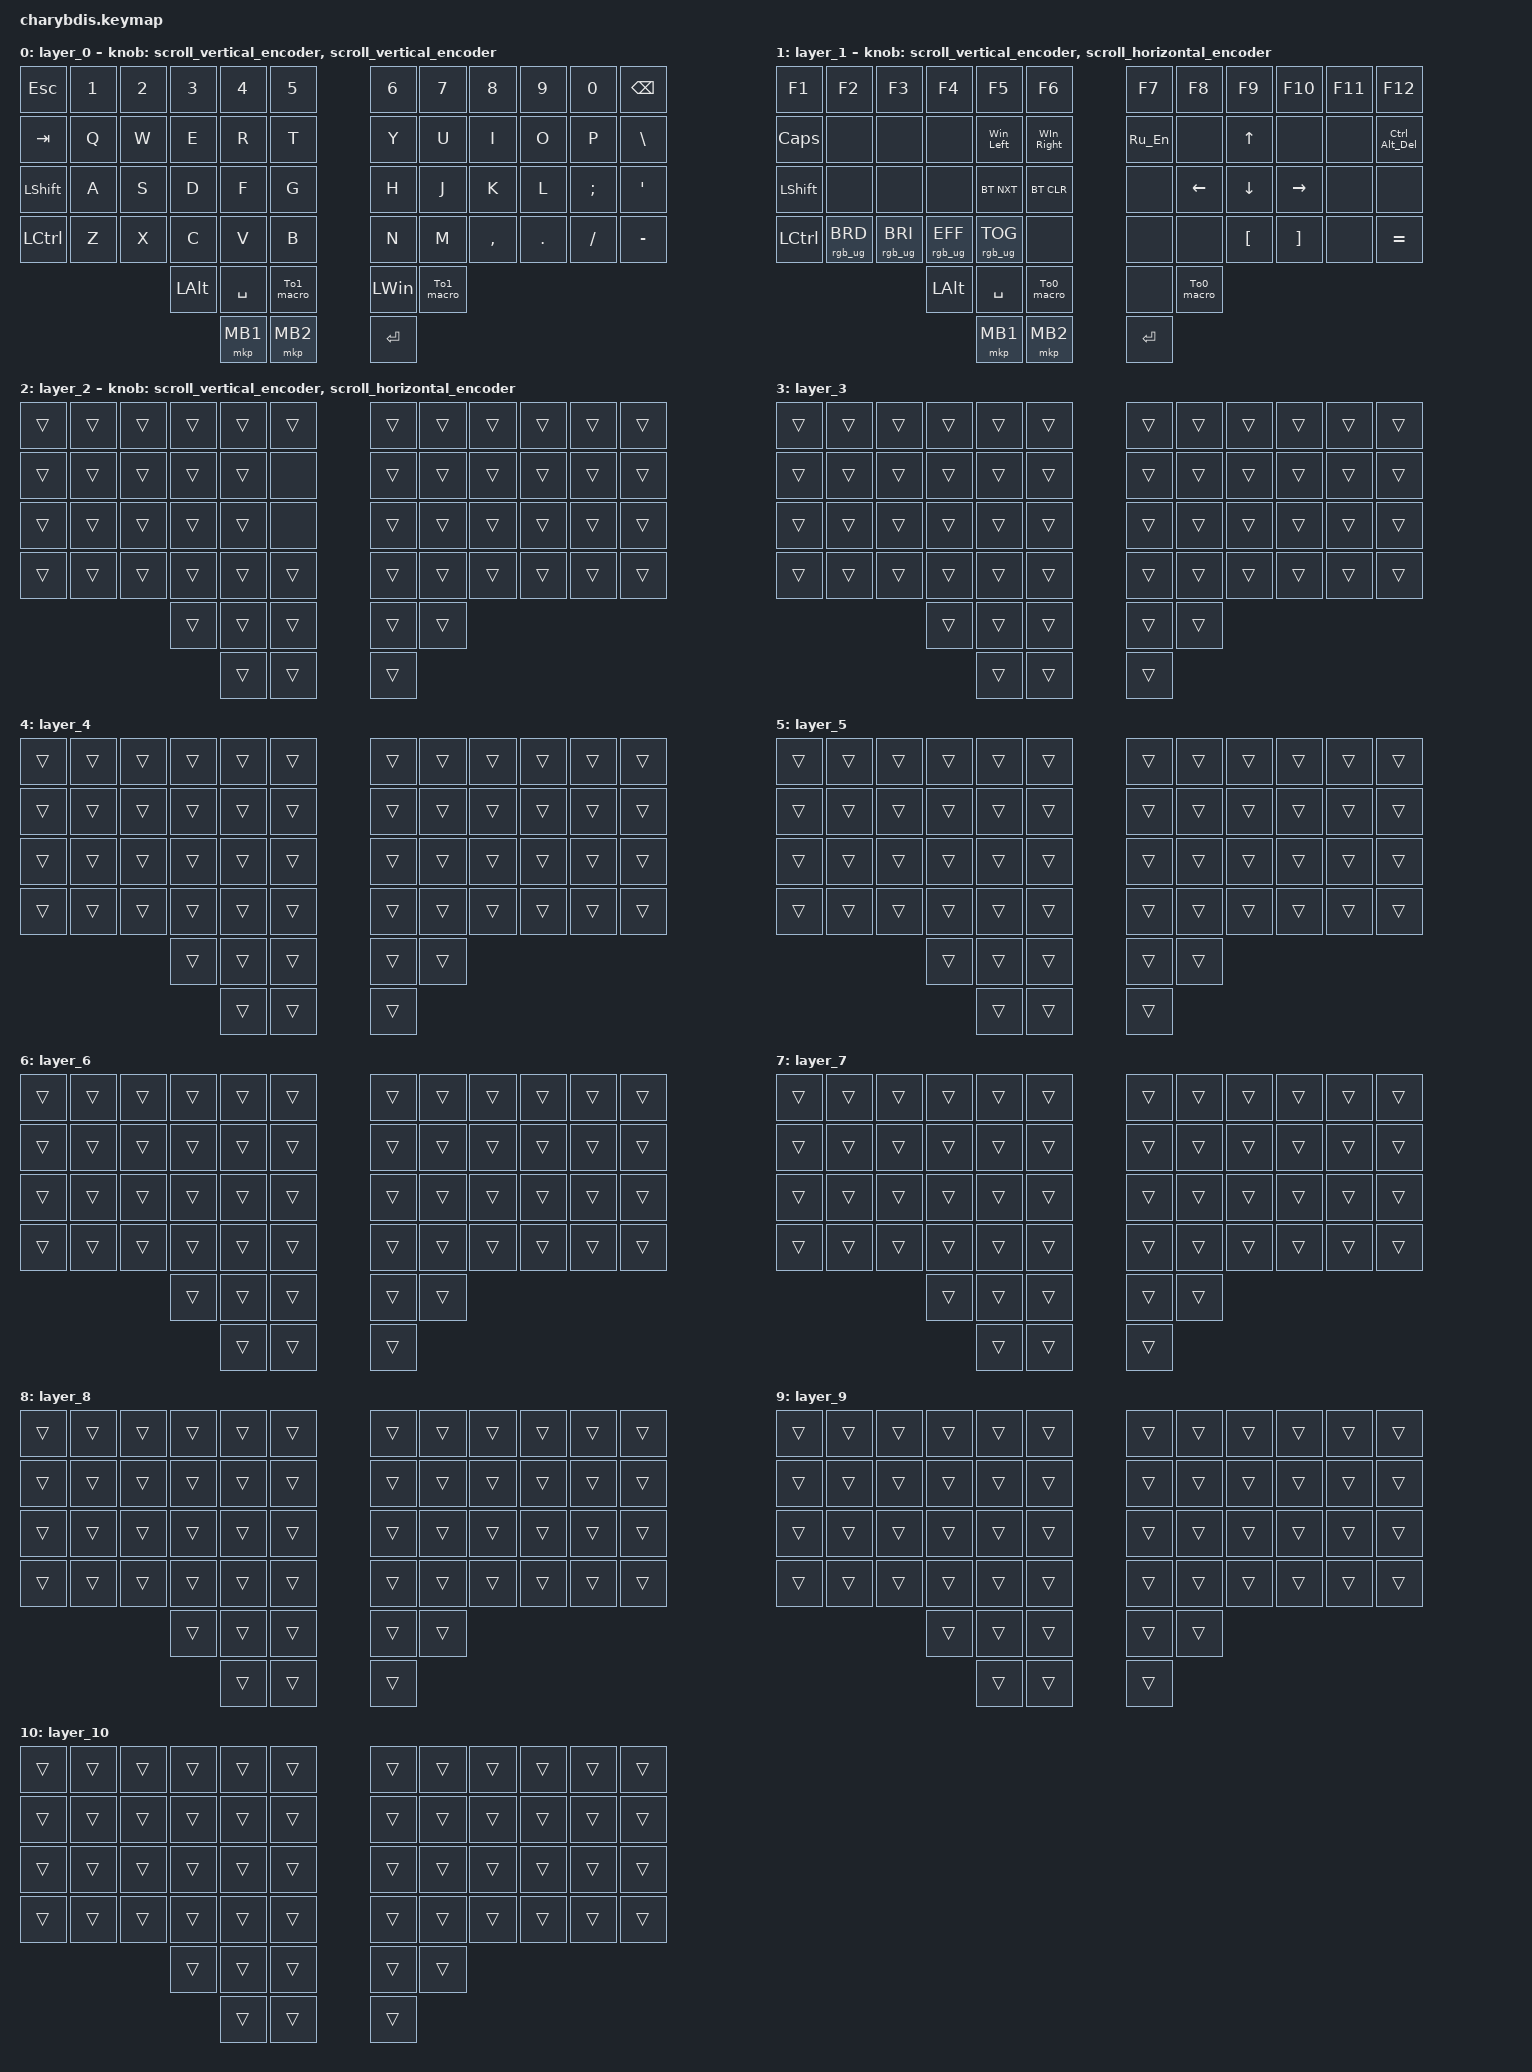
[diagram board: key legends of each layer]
#define ZMK_POINTING_DEFAULT_SCRL_VAL 25

#include <dt-bindings/zmk/mouse.h>
#include <input/processors.dtsi>
#include <zephyr/dt-bindings/input/input-event-codes.h>
#include <behaviors.dtsi>
#include <dt-bindings/zmk/bt.h>
#include <dt-bindings/zmk/keys.h>
#include <dt-bindings/zmk/pointing.h>
#include <dt-bindings/zmk/rgb.h>

&lt {
    tapping-term-ms = <200>;
    flavor = "balanced";
    quick-tap-ms = <150>;
};

&msc {
    acceleration-exponent = <0>;      // 0
    time-to-max-speed-ms = <30>;       // 300
    delay-ms = <0>;                   // 0
};

/ {
    // 上下滚动编码器行为

    scroll_vertical_encoder: scroll_vertical_encoder {
        compatible = "zmk,behavior-sensor-rotate";
        #sensor-binding-cells = <0>;
        bindings = <&msc SCRL_DOWN>, <&msc SCRL_UP>;

        tap-ms = <64>;
    };

    // 左右滚动编码器行为

    scroll_horizontal_encoder: scroll_horizontal_encoder {
        compatible = "zmk,behavior-sensor-rotate";
        #sensor-binding-cells = <0>;
        bindings = <&msc SCRL_LEFT>, <&msc SCRL_RIGHT>;

        tap-ms = <64>;
    };

    behaviors {
    };

    macros {
        To1_macro: To1_macro {
            compatible = "zmk,behavior-macro";
            label = "To1_macro";
            #binding-cells = <0>;
            bindings = <&rgb_ug RGB_EFF &rgb_ug RGB_COLOR_HSB(128,100,50) &to 1>;
        };

        To1_macro_A: To1_macro_A {
            compatible = "zmk,behavior-macro";
            label = "To1_macro_A";
            #binding-cells = <0>;
            bindings = <&rgb_ug RGB_COLOR_HSB(128,100,50) &to 1>;
        };

        To0_macro: To0_macro {
            compatible = "zmk,behavior-macro";
            label = "To0_macro";
            #binding-cells = <0>;
            bindings = <&rgb_ug RGB_EFR &to 0>;
        };

        To2_macro_A: To2_macro_A {
            compatible = "zmk,behavior-macro";
            label = "To2_macro_A";
            #binding-cells = <0>;
            bindings = <&rgb_ug RGB_COLOR_HSB(250,100,50) &to 2>;
        };

        To2_macro: To2_macro {
            compatible = "zmk,behavior-macro";
            label = "To2_macro";
            #binding-cells = <0>;
            bindings = <&rgb_ug RGB_EFF &rgb_ug RGB_COLOR_HSB(250,100,50) &to 2>;
        };

        Win_Left: Win_Left {
            compatible = "zmk,behavior-macro";
            #binding-cells = <0>;
            bindings = <&kp LG(LEFT)>;
            label = "WIN_LEFT";
        };

        WIn_Right: WIn_Right {
            compatible = "zmk,behavior-macro";
            #binding-cells = <0>;
            bindings = <&kp LG(RIGHT_ARROW)>;
            label = "WIN_RIGHT";
        };

        Ru_En: Ru_En {
            compatible = "zmk,behavior-macro";
            #binding-cells = <0>;
            bindings = <&kp LA(LEFT_SHIFT)>;
            label = "RU_EN";
        };

        Ctrl_Alt_Del: Ctrl_Alt_Del {
            compatible = "zmk,behavior-macro";
            #binding-cells = <0>;
            bindings = <&kp LA(LC(DEL))>;
            label = "CTRL_ALT_DEL";
        };
    };

    keymap {
        compatible = "zmk,keymap";

        layer_0 {
            bindings = <
&kp ESC         &kp N1  &kp N2  &kp N3        &kp N4     &kp N5        &kp N6     &kp N7      &kp N8     &kp N9   &kp N0    &kp BACKSPACE
&kp TAB         &kp Q   &kp W   &kp E         &kp R      &kp T         &kp Y      &kp U       &kp I      &kp O    &kp P     &kp BSLH
&kp LEFT_SHIFT  &kp A   &kp S   &kp D         &kp F      &kp G         &kp H      &kp J       &kp K      &kp L    &kp SEMI  &kp SQT
&kp LCTRL       &kp Z   &kp X   &kp C         &kp V      &kp B         &kp N      &kp M       &kp COMMA  &kp DOT  &kp FSLH  &kp MINUS
                                &kp LEFT_ALT  &kp SPACE  &To1_macro    &kp LWIN   &To1_macro
                                              &mkp MB1   &mkp MB2      &kp ENTER
            >;

            sensor-bindings = <&scroll_vertical_encoder &scroll_vertical_encoder>;

            //&inc_dec_kp A B>;
            //<&scroll_vertical_encoder>,
            // 编码器1：上下滚动,,
            //<&scroll_horizontal_encoder>;
            // 编码器2：左右滚动
        };

        layer_1 {
            bindings = <
&kp F1          &kp F2           &kp F3           &kp F4           &kp F5           &kp F6        &kp F7     &kp F8      &kp F9            &kp F10            &kp F11  &kp F12
&kp CAPS        &none            &none            &none            &Win_Left        &WIn_Right    &Ru_En     &none       &kp UP            &none              &none    &Ctrl_Alt_Del
&kp LEFT_SHIFT  &none            &none            &none            &bt BT_NXT       &bt BT_CLR    &none      &kp LEFT    &kp DOWN          &kp RIGHT          &none    &none
&kp LCTRL       &rgb_ug RGB_BRD  &rgb_ug RGB_BRI  &rgb_ug RGB_EFF  &rgb_ug RGB_TOG  &none         &none      &none       &kp LEFT_BRACKET  &kp RIGHT_BRACKET  &none    &kp EQUAL
                                                  &kp LEFT_ALT     &kp SPACE        &To0_macro    &none      &To0_macro
                                                                   &mkp MB1         &mkp MB2      &kp ENTER
            >;

            sensor-bindings =
                <&scroll_vertical_encoder>,
                //<&inc_dec_kp A B>;,
                //<&scroll_vertical_encoder>,,
                // 编码器1：上下滚动,,,
                <&scroll_horizontal_encoder>;
        };

        layer_2 {
            bindings = <
&trans  &trans  &trans  &trans  &trans  &trans    &trans  &trans  &trans  &trans  &trans  &trans
&trans  &trans  &trans  &trans  &trans  &none     &trans  &trans  &trans  &trans  &trans  &trans
&trans  &trans  &trans  &trans  &trans  &none     &trans  &trans  &trans  &trans  &trans  &trans
&trans  &trans  &trans  &trans  &trans  &trans    &trans  &trans  &trans  &trans  &trans  &trans
                        &trans  &trans  &trans    &trans  &trans
                                &trans  &trans    &trans
            >;

            sensor-bindings =
                <&scroll_vertical_encoder>,
                //<&inc_dec_kp A B>;,
                //<&scroll_vertical_encoder>,,
                // 编码器1：上下滚动,,,
                <&scroll_horizontal_encoder>;
        };

        layer_3 {
            bindings = <
&trans  &trans  &trans  &trans  &trans  &trans    &trans  &trans  &trans  &trans  &trans  &trans
&trans  &trans  &trans  &trans  &trans  &trans    &trans  &trans  &trans  &trans  &trans  &trans
&trans  &trans  &trans  &trans  &trans  &trans    &trans  &trans  &trans  &trans  &trans  &trans
&trans  &trans  &trans  &trans  &trans  &trans    &trans  &trans  &trans  &trans  &trans  &trans
                        &trans  &trans  &trans    &trans  &trans
                                &trans  &trans    &trans
            >;
        };

        layer_4 {
            bindings = <
&trans  &trans  &trans  &trans  &trans  &trans    &trans  &trans  &trans  &trans  &trans  &trans
&trans  &trans  &trans  &trans  &trans  &trans    &trans  &trans  &trans  &trans  &trans  &trans
&trans  &trans  &trans  &trans  &trans  &trans    &trans  &trans  &trans  &trans  &trans  &trans
&trans  &trans  &trans  &trans  &trans  &trans    &trans  &trans  &trans  &trans  &trans  &trans
                        &trans  &trans  &trans    &trans  &trans
                                &trans  &trans    &trans
            >;
        };

        layer_5 {
            bindings = <
&trans  &trans  &trans  &trans  &trans  &trans    &trans  &trans  &trans  &trans  &trans  &trans
&trans  &trans  &trans  &trans  &trans  &trans    &trans  &trans  &trans  &trans  &trans  &trans
&trans  &trans  &trans  &trans  &trans  &trans    &trans  &trans  &trans  &trans  &trans  &trans
&trans  &trans  &trans  &trans  &trans  &trans    &trans  &trans  &trans  &trans  &trans  &trans
                        &trans  &trans  &trans    &trans  &trans
                                &trans  &trans    &trans
            >;
        };

        layer_6 {
            bindings = <
&trans  &trans  &trans  &trans  &trans  &trans    &trans  &trans  &trans  &trans  &trans  &trans
&trans  &trans  &trans  &trans  &trans  &trans    &trans  &trans  &trans  &trans  &trans  &trans
&trans  &trans  &trans  &trans  &trans  &trans    &trans  &trans  &trans  &trans  &trans  &trans
&trans  &trans  &trans  &trans  &trans  &trans    &trans  &trans  &trans  &trans  &trans  &trans
                        &trans  &trans  &trans    &trans  &trans
                                &trans  &trans    &trans
            >;
        };

        layer_7 {
            bindings = <
&trans  &trans  &trans  &trans  &trans  &trans    &trans  &trans  &trans  &trans  &trans  &trans
&trans  &trans  &trans  &trans  &trans  &trans    &trans  &trans  &trans  &trans  &trans  &trans
&trans  &trans  &trans  &trans  &trans  &trans    &trans  &trans  &trans  &trans  &trans  &trans
&trans  &trans  &trans  &trans  &trans  &trans    &trans  &trans  &trans  &trans  &trans  &trans
                        &trans  &trans  &trans    &trans  &trans
                                &trans  &trans    &trans
            >;
        };

        layer_8 {
            bindings = <
&trans  &trans  &trans  &trans  &trans  &trans    &trans  &trans  &trans  &trans  &trans  &trans
&trans  &trans  &trans  &trans  &trans  &trans    &trans  &trans  &trans  &trans  &trans  &trans
&trans  &trans  &trans  &trans  &trans  &trans    &trans  &trans  &trans  &trans  &trans  &trans
&trans  &trans  &trans  &trans  &trans  &trans    &trans  &trans  &trans  &trans  &trans  &trans
                        &trans  &trans  &trans    &trans  &trans
                                &trans  &trans    &trans
            >;
        };

        layer_9 {
            bindings = <
&trans  &trans  &trans  &trans  &trans  &trans    &trans  &trans  &trans  &trans  &trans  &trans
&trans  &trans  &trans  &trans  &trans  &trans    &trans  &trans  &trans  &trans  &trans  &trans
&trans  &trans  &trans  &trans  &trans  &trans    &trans  &trans  &trans  &trans  &trans  &trans
&trans  &trans  &trans  &trans  &trans  &trans    &trans  &trans  &trans  &trans  &trans  &trans
                        &trans  &trans  &trans    &trans  &trans
                                &trans  &trans    &trans
            >;
        };

        layer_10 {
            bindings = <
&trans  &trans  &trans  &trans  &trans  &trans    &trans  &trans  &trans  &trans  &trans  &trans
&trans  &trans  &trans  &trans  &trans  &trans    &trans  &trans  &trans  &trans  &trans  &trans
&trans  &trans  &trans  &trans  &trans  &trans    &trans  &trans  &trans  &trans  &trans  &trans
&trans  &trans  &trans  &trans  &trans  &trans    &trans  &trans  &trans  &trans  &trans  &trans
                        &trans  &trans  &trans    &trans  &trans
                                &trans  &trans    &trans
            >;
        };

        /* layer_2 {
            bindings = <
&none  &none   &none    &none   &none         &none         &kp N1         &none         &none     &none  &none   &to 0
&none  &none   &none    &none   &none         &none         &none         &none          &rgb_ug RGB_BRD &rgb_ug RGB_BRI  &rgb_ug RGB_EFF   &rgb_ug RGB_TOG
&none  &none   &none    &none   &none         &none         &none         &mkp LCLK     &mkp RCLK  &none  &none   &none
&none  &none   &none    &none   &bt BT_NXT  &bt BT_CLR    &none         &none         &none     &none  &none   &none
                                   &none         &none         &none         &none         &none
                                                 &none         &none         &none
            >;
       
            
        };

       Mouse {
            bindings = <
&none        &none         &none         &none         &none      &none         &none       &none      &none         &none         &none         &none
&none        &bt BT_SEL 0  &bt BT_SEL 1  &bt BT_SEL 3  &none      &bt BT_CLR    &bt BT_CLR  &none      &bt BT_SEL 2  &bt BT_SEL 1  &bt BT_SEL 0  &none
&none        &trans        &trans        &mkp MCLK     &trans     &none         &none       &trans     &mkp MCLK     &trans        &trans        &none
&bootloader  &trans        &mkp RCLK     &mo 4         &mkp LCLK  &mo 5         &mo 5       &mkp LCLK  &mo 4         &mkp RCLK     &trans        &bootloader
                                         &mo 5         &mkp LCLK  &mkp RCLK     &mkp RCLK   &mkp LCLK
                                                       &none      &trans        &trans
            >;

            
        };

        layer_4 {
            bindings = <
&trans  &trans  &trans     &trans     &trans     &trans       &trans     &trans     &trans     &trans     &trans  &trans
&trans  &trans  &trans     &trans     &trans     &trans       &trans     &trans     &trans     &trans     &trans  &trans
&trans  &trans  &trans     &mkp MCLK  &trans     &trans       &trans     &trans     &mkp MCLK  &trans     &trans  &trans
&trans  &trans  &mkp RCLK  &trans     &mkp LCLK  &trans       &trans     &mkp LCLK  &trans     &mkp RCLK  &trans  &trans
                           &trans     &mkp LCLK  &mkp RCLK    &mkp RCLK  &mkp LCLK
                                      &trans     &trans       &trans
            >;
                
                
               
        };

        layer_5 {
            bindings = <
&trans  &trans  &trans     &trans     &trans     &trans       &trans     &trans     &trans     &trans     &trans  &trans
&trans  &trans  &trans     &trans     &trans     &trans       &trans     &trans     &trans     &trans     &trans  &trans
&trans  &trans  &trans     &mkp MCLK  &trans     &trans       &trans     &trans     &mkp MCLK  &trans     &trans  &trans
&trans  &trans  &mkp RCLK  &trans     &mkp LCLK  &trans       &trans     &mkp LCLK  &trans     &mkp RCLK  &trans  &trans
                           &trans     &mkp LCLK  &mkp RCLK    &mkp RCLK  &mkp LCLK
                                      &trans     &trans       &trans
            >;
                
                
        };*/
    };
};
